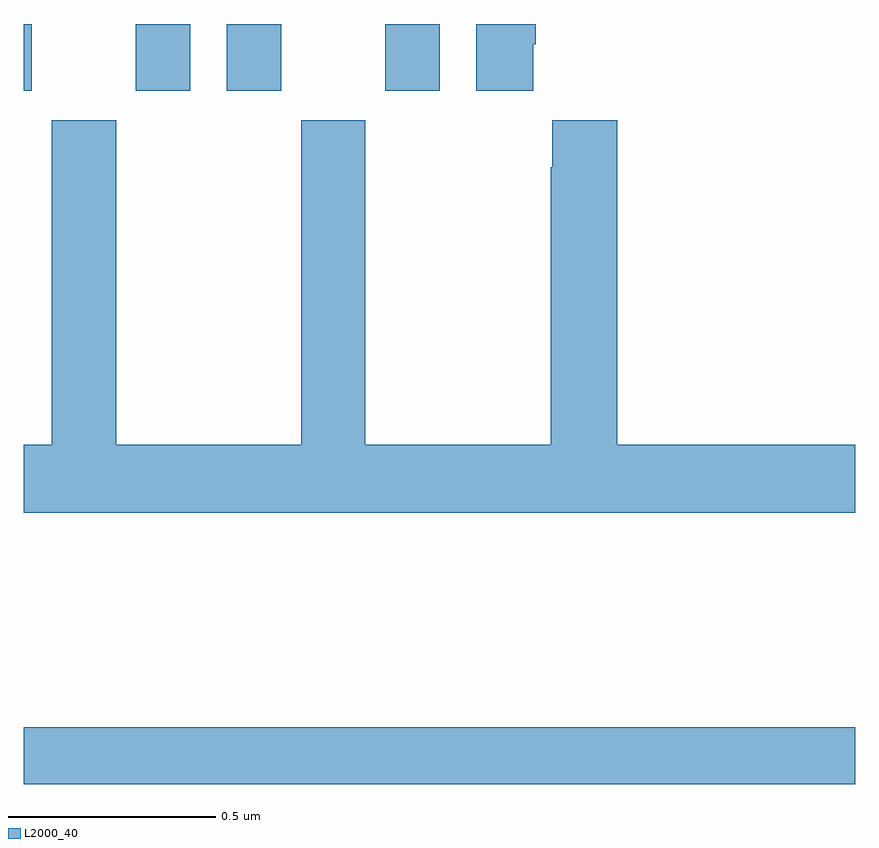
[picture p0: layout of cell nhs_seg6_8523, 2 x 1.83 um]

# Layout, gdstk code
import gdstk
lib = gdstk.Library(unit=1e-6, precision=1e-09)
def R(c, l, rs):  # rectangles x0, y0, x1, y1
    for r in rs: c.add(gdstk.rectangle(r[:2], r[2:], *l))
def P(c, l, *ps):  # polygons
    for p in ps: c.add(gdstk.Polygon(p, *l))
L2000_40 = (2000, 40)

nhs_seg6_8523 = lib.new_cell('nhs_seg6_8523')
R(nhs_seg6_8523, L2000_40, [(222,958.672,224,958.808), (222,960.339,222.019,960.5), (222.269,960.339,222.4,960.5), (222.488,960.339,222.619,960.5), (222.869,960.339,223,960.5)])
P(nhs_seg6_8523, L2000_40, [(223.225,960.451),(223.232,960.451),(223.232,960.5),(223.088,960.5),(223.088,960.339),(223.225,960.339)],
  [(224,959.488),(223.427,959.488),(223.427,960.268),(223.271,960.268),(223.271,960.155),(223.267,960.155),(223.267,959.488),(222.822,959.488),(222.822,960.268),(222.667,960.268),(222.667,959.488),(222.222,959.488),(222.222,960.268),(222.067,960.268),(222.067,959.488),(222,959.488),(222,959.324),(224,959.324)])

lib.write_gds('nhs_seg6_8523.gds')
